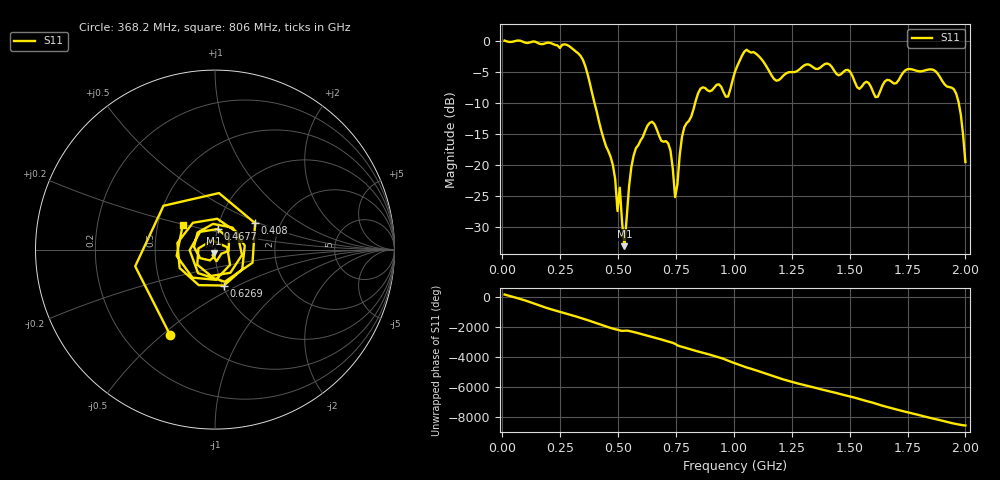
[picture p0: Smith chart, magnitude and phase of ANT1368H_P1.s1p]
!Created with skrf (http://scikit-rf.org).
# Hz S RI R 50.0
!freq ReS11 ImS11
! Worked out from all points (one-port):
!   201 points, 10 MHz to 2 GHz, reference 50 ohm
!   lowest |S11| = -33.1 dB at 527.4 MHz (marker M1), VSWR 1.04, Z = 49.4 - j2.09 ohm
!   |S11| at or under -10 dB: 398 MHz to 833.2 MHz (435.2 MHz wide, 70.7 % of centre); 1.971 GHz to end of sweep
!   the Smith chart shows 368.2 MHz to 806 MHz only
!   S11 on the Smith chart (normalised r, x): 368.2 MHz: 0.40, -0.54; 408 MHz: 1.49, +0.47; 467.7 MHz: 1.00, +0.23; 626.9 MHz: 1.02, -0.42; 806 MHz: 0.67, +0.19
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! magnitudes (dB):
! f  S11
! 10 MHz  0.0
! 258.8 MHz  -0.6
! 368.2 MHz  -5.4
! 408 MHz  -11.5
! 467.7 MHz  -18.7
! 487.6 MHz  -22.4
! 497.6 MHz  -27.5
! 507.5 MHz  -23.7
! 527.4 MHz  -33.1
! 557.2 MHz  -20.4
! 626.9 MHz  -13.7
! 716.5 MHz  -16.6
! 746.3 MHz  -25.2
! 756.2 MHz  -23.2
! 776.1 MHz  -15.5
! 806 MHz  -12.9
! 855.8 MHz  -7.7
! 975.1 MHz  -9.0
! 1.005 GHz  -5.0
! 1.055 GHz  -1.4
! 1.184 GHz  -6.4
! 1.254 GHz  -5.1
! 1.502 GHz  -5.0
! 1.612 GHz  -9.1
! 1.751 GHz  -4.6
! 1.95 GHz  -7.8
! 1.98 GHz  -11.9
! 2 GHz  -19.6
